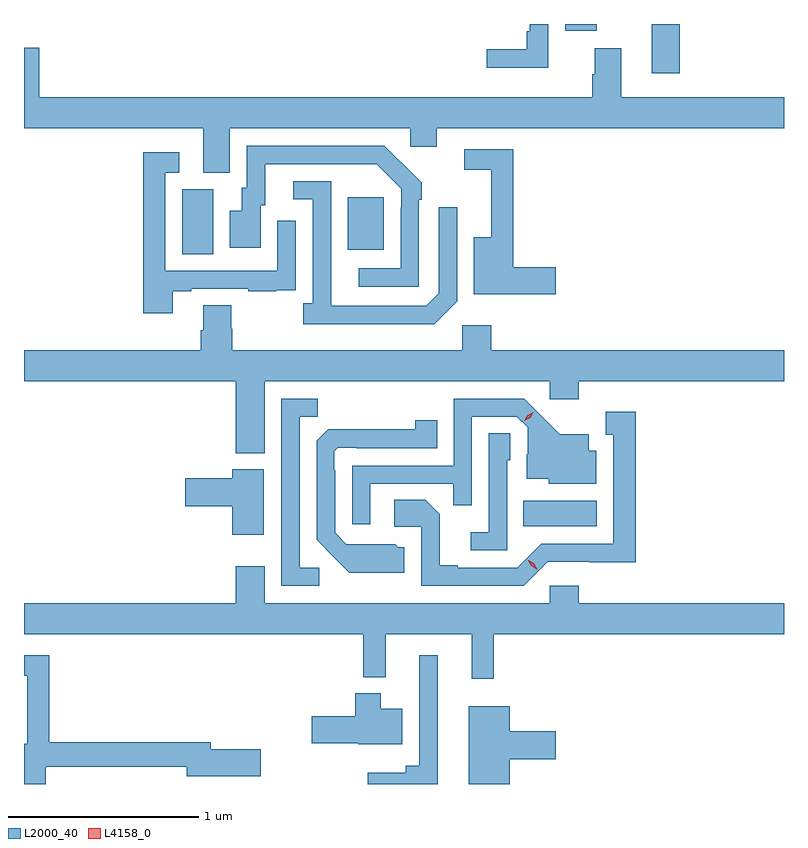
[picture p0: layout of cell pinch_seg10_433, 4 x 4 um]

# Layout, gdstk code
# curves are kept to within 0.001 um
import gdstk
lib = gdstk.Library(unit=1e-6, precision=1e-09)
def R(c, l, rs):  # rectangles x0, y0, x1, y1
    for r in rs: c.add(gdstk.rectangle(r[:2], r[2:], *l))
def P(c, l, *ps):  # polygons
    for p in ps: c.add(gdstk.Polygon(p, *l))
L2000_40 = (2000, 40)
L4158_0 = (4158, 0)

pinch_seg10_433 = lib.new_cell('pinch_seg10_433')
R(pinch_seg10_433, L2000_40, [(340.276,1307.546,340.663,1307.68), (338.48,1308.976,338.644,1309.32), (339.353,1309.001,339.541,1309.276), (340.952,1309.929,341.099,1310.189), (340.496,1310.154,340.663,1310.189), (340.061,1310.187,340.221,1310.189)])
P(pinch_seg10_433, L2000_40, [(340.407,1310.189),(340.311,1310.189),(340.311,1310.152),(340.295,1310.152),(340.295,1310.056),(340.083,1310.056),(340.083,1309.958),(340.407,1309.958)],
  [(338.731,1309.64),(339.681,1309.64),(339.681,1309.542),(339.82,1309.542),(339.82,1309.64),(341.648,1309.64),(341.648,1309.804),(340.792,1309.804),(340.792,1310.062),(340.652,1310.062),(340.652,1309.925),(340.64,1309.925),(340.64,1309.804),(337.727,1309.804),(337.727,1310.065),(337.648,1310.065),(337.648,1309.64),(338.591,1309.64),(338.591,1309.405),(338.731,1309.405)],
  [(339.726,1309.265),(339.741,1309.265),(339.741,1309.353),(339.544,1309.548),(338.82,1309.548),(338.82,1309.326),(338.795,1309.326),(338.795,1309.207),(338.732,1309.207),(338.732,1309.011),(338.893,1309.011),(338.893,1309.236),(338.917,1309.236),(338.917,1309.452),(339.505,1309.452),(339.633,1309.323),(339.633,1309.223),(339.63,1309.223),(339.63,1308.903),(339.411,1308.903),(339.411,1308.807),(339.726,1308.807)],
  [(340.447,1308.908),(340.223,1308.908),(340.223,1309.53),(339.966,1309.53),(339.966,1309.422),(340.106,1309.422),(340.106,1309.066),(340.016,1309.066),(340.016,1308.766),(340.447,1308.766)],
  [(338.431,1308.783),(338.527,1308.783),(338.527,1308.795),(338.827,1308.795),(338.827,1308.783),(338.975,1308.783),(338.975,1308.789),(339.077,1308.789),(339.077,1308.898),(339.078,1308.898),(339.078,1309.153),(338.982,1309.153),(338.982,1308.891),(338.391,1308.891),(338.391,1309.407),(338.464,1309.407),(338.464,1309.513),(338.275,1309.513),(338.275,1308.666),(338.431,1308.666)],
  [(339.927,1308.729),(339.927,1309.225),(339.831,1309.225),(339.831,1308.771),(339.765,1308.705),(339.265,1308.705),(339.264,1309.362),(339.066,1309.362),(339.066,1309.266),(339.168,1309.266),(339.168,1308.718),(339.117,1308.718),(339.117,1308.608),(339.806,1308.608)],
  [(338.914,1308.308),(340.416,1308.308),(340.416,1308.213),(340.568,1308.213),(340.568,1308.308),(341.648,1308.308),(341.648,1308.472),(340.106,1308.472),(340.106,1308.604),(339.954,1308.604),(339.954,1308.472),(338.744,1308.472),(338.744,1308.585),(338.739,1308.585),(338.739,1308.71),(338.591,1308.71),(338.591,1308.578),(338.579,1308.578),(338.579,1308.472),(337.648,1308.472),(337.648,1308.308),(338.762,1308.308),(338.762,1307.93),(338.914,1307.93)],
  [(339.202,1307.328),(339.099,1307.328),(339.099,1308.121),(339.195,1308.121),(339.195,1308.216),(339.003,1308.216),(339.003,1307.232),(339.202,1307.232)],
  [(339.471,1307.769),(339.907,1307.769),(339.907,1307.656),(340.005,1307.656),(340.005,1308.123),(340.242,1308.123),(340.299,1308.066),(340.299,1307.924),(340.295,1307.924),(340.295,1307.795),(340.41,1307.795),(340.41,1307.768),(340.66,1307.768),(340.66,1307.944),(340.621,1307.944),(340.621,1308.031),(340.469,1308.031),(340.282,1308.216),(339.909,1308.216),(339.909,1307.865),(339.375,1307.865),(339.375,1307.556),(339.471,1307.556)],
  [(340.404,1307.358),(340.867,1307.357),(340.867,1308.148),(340.709,1308.148),(340.709,1308.027),(340.748,1308.027),(340.748,1307.454),(340.371,1307.454),(340.245,1307.328),(339.931,1307.328),(339.931,1307.341),(339.837,1307.341),(339.837,1307.608),(339.761,1307.684),(339.597,1307.684),(339.597,1307.544),(339.738,1307.544),(339.738,1307.232),(340.278,1307.232)],
  [(339.649,1307.436),(339.618,1307.436),(339.602,1307.452),(339.345,1307.451),(339.285,1307.511),(339.285,1307.84),(339.282,1307.84),(339.282,1307.94),(339.3,1307.958),(339.4,1307.958),(339.4,1307.955),(339.824,1307.955),(339.824,1308.103),(339.706,1308.103),(339.706,1308.056),(339.248,1308.055),(339.189,1307.996),(339.189,1307.474),(339.361,1307.3),(339.649,1307.3)],
  [(340.191,1307.892),(340.206,1307.892),(340.206,1308.035),(340.095,1308.035),(340.095,1307.515),(339.999,1307.515),(339.999,1307.418),(340.191,1307.418)],
  [(338.911,1307.845),(338.744,1307.845),(338.744,1307.798),(338.496,1307.798),(338.496,1307.651),(338.744,1307.651),(338.744,1307.502),(338.911,1307.502)],
  [(340.121,1306.976),(341.648,1306.976),(341.648,1307.14),(340.568,1307.14),(340.568,1307.233),(340.416,1307.233),(340.416,1307.14),(338.914,1307.14),(338.914,1307.335),(338.762,1307.335),(338.762,1307.14),(337.648,1307.14),(337.648,1306.976),(339.433,1306.976),(339.433,1306.751),(339.551,1306.751),(339.551,1306.976),(340.004,1306.976),(340.004,1306.743),(340.121,1306.743)],
  [(339.826,1306.867),(339.729,1306.867),(339.729,1306.285),(339.656,1306.285),(339.656,1306.249),(339.456,1306.249),(339.456,1306.189),(339.826,1306.189)],
  [(337.762,1306.281),(338.504,1306.281),(338.504,1306.231),(338.893,1306.231),(338.893,1306.373),(338.632,1306.373),(338.632,1306.409),(337.781,1306.409),(337.781,1306.866),(337.648,1306.866),(337.648,1306.758),(337.664,1306.758),(337.664,1306.402),(337.648,1306.402),(337.648,1306.189),(337.762,1306.189)],
  [(339.64,1306.585),(339.526,1306.585),(339.526,1306.666),(339.392,1306.666),(339.392,1306.545),(339.162,1306.545),(339.162,1306.403),(339.408,1306.403),(339.408,1306.397),(339.64,1306.397)],
  [(340.204,1306.319),(340.447,1306.319),(340.447,1306.466),(340.204,1306.466),(340.204,1306.597),(339.989,1306.597),(339.989,1306.189),(340.204,1306.189)])
P(pinch_seg10_433, L4158_0, [(340.349,1307.317),(340.317,1307.337),(340.3,1307.37),(340.3,1307.37),(340.3,1307.37),(340.332,1307.35),(340.349,1307.318),(340.349,1307.317)],
  [(340.281,1308.1),(340.281,1308.1),(340.299,1308.13),(340.329,1308.146),(340.329,1308.146),(340.329,1308.145),(340.312,1308.116),(340.282,1308.1)])

lib.write_gds('pinch_seg10_433.gds')
